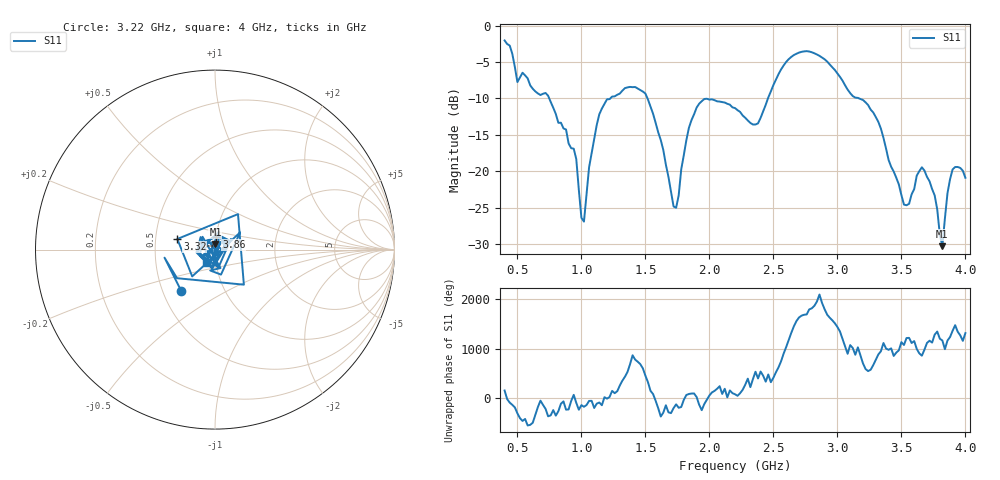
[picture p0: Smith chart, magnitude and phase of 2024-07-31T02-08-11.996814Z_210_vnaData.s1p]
!Created with skrf (http://scikit-rf.org).
# Hz S RI R 50.0
!freq ReS11 ImS11
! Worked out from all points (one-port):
!   181 points, 400 MHz to 4 GHz, reference 50 ohm
!   lowest |S11| = -30.3 dB at 3.82 GHz (marker M1), VSWR 1.06, Z = 50.1 + j3.06 ohm
!   |S11| at or under -10 dB: 748.8 MHz to 1.226 GHz (476.9 MHz wide, 48.3 % of centre); 1.517 GHz to 2.457 GHz (940.9 MHz wide, 47.4 % of centre); 3.17 GHz to end of sweep
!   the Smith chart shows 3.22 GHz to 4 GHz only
!   S11 on the Smith chart (normalised r, x): 3.22 GHz: 0.62, -0.31; 3.32 GHz: 0.65, +0.08; 3.86 GHz: 1.00, +0.14; 4 GHz: 0.89, -0.13
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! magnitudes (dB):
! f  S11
! 400 MHz  -2.0
! 500 MHz  -7.8
! 720 MHz  -9.3
! 860 MHz  -14.1
! 960 MHz  -18.3
! 1 GHz  -26.4
! 1.02 GHz  -26.9
! 1.06 GHz  -19.5
! 1.14 GHz  -12.2
! 1.3 GHz  -9.3
! 1.5 GHz  -9.3
! 1.72 GHz  -24.8
! 1.76 GHz  -23.3
! 1.82 GHz  -15.7
! 1.9 GHz  -11.3
! 2.2 GHz  -11.3
! 2.38 GHz  -13.4
! 2.66 GHz  -4.0
! 3.1 GHz  -9.3
! 3.22 GHz  -10.5
! 3.32 GHz  -13.2
! 3.56 GHz  -24.5
! 3.66 GHz  -19.5
! 3.76 GHz  -23.3
! 3.82 GHz  -30.3
! 3.86 GHz  -23.0
! 3.92 GHz  -19.4
! 4 GHz  -20.9
